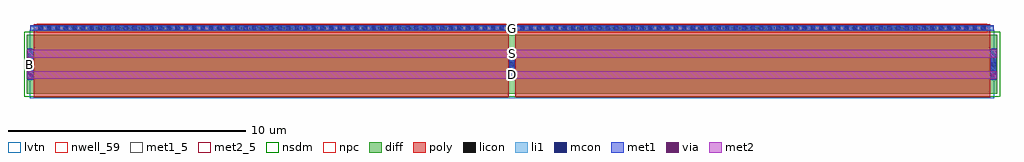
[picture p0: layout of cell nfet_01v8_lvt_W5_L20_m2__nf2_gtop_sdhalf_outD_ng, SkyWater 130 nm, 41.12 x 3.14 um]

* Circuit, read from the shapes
.subckt nfet_01v8_lvt_W5_L20_m2__nf2_gtop_sdhalf_outD_ng B D G S
XM1 S G D B sky130_fd_pr__nfet_01v8_lvt w=2.5 l=20 m=2
.ends

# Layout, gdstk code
import gdstk
lib = gdstk.Library(unit=1e-6, precision=1e-09)
def R(c, l, rs):  # rectangles x0, y0, x1, y1
    for r in rs: c.add(gdstk.rectangle(r[:2], r[2:], *l))
def A(c, l, x, y, w, h, nx, ny, dx, dy):  # array of equal rectangles
    R(c, l, [(x+i*dx, y+j*dy, x+i*dx+w, y+j*dy+h) for i in range(nx) for j in range(ny)])
nwell_59 = (64, 59)
diff = (65, 20)
poly = (66, 20)
licon = (66, 44)
li1 = (67, 20)
mcon = (67, 44)
met1_5 = (68, 5)
met1 = (68, 20)
via = (68, 44)
met2_5 = (69, 5)
met2 = (69, 20)
nsdm = (93, 44)
npc = (95, 20)
lvtn = (125, 44)

sky130_fd_pr__nfet_01v8_ = lib.new_cell('sky130_fd_pr__nfet_01v8_lvt_HAP7TR')
R(sky130_fd_pr__nfet_01v8_, diff, [(-20.435,-1.405,20.435,1.095)])
R(sky130_fd_pr__nfet_01v8_, poly, [(-20.145,-1.535,-0.145,1.535), (0.145,-1.535,20.145,1.535)])
A(sky130_fd_pr__nfet_01v8_, licon, -20.375, -0.75, 0.17, 0.17, 3, 4, 20.29, 0.34)
A(sky130_fd_pr__nfet_01v8_, licon, -19.92, 1.285, 0.17, 0.17, 58, 1, 0.34, 0)
A(sky130_fd_pr__nfet_01v8_, licon, 0.37, 1.285, 0.17, 0.17, 58, 1, 0.34, 0)
A(sky130_fd_pr__nfet_01v8_, li1, -20.375, -0.83, 0.17, 1.35, 3, 1, 20.29, 0)
R(sky130_fd_pr__nfet_01v8_, li1, [(-20.29,1.285,20.29,1.455)])
A(sky130_fd_pr__nfet_01v8_, mcon, -20.375, -0.6, 0.17, 0.17, 3, 3, 20.29, 0.36)
A(sky130_fd_pr__nfet_01v8_, mcon, -19.95, 1.285, 0.17, 0.17, 55, 1, 0.36, 0)
A(sky130_fd_pr__nfet_01v8_, mcon, 0.34, 1.285, 0.17, 0.17, 55, 1, 0.36, 0)
A(sky130_fd_pr__nfet_01v8_, met1, -20.405, -0.81, 0.23, 1.31, 3, 1, 20.29, 0)
R(sky130_fd_pr__nfet_01v8_, met1, [(-20.125,1.255,-0.165,1.285), (0.165,1.255,20.125,1.285), (-20.29,1.285,20.29,1.455), (-20.125,1.455,-0.165,1.485), (0.165,1.455,20.125,1.485)])
R(sky130_fd_pr__nfet_01v8_, nsdm, [(-20.56,-1.53,20.56,1.22)])
R(sky130_fd_pr__nfet_01v8_, npc, [(-20.02,1.185,-0.27,1.555), (0.27,1.185,20.02,1.555)])
R(sky130_fd_pr__nfet_01v8_, lvtn, [(-20.325,-1.585,20.325,1.275)])
sky130_fd_pr__nfet_01v8_.add(gdstk.Label('D0', (-20.29,-0.155), layer=67, texttype=5))
sky130_fd_pr__nfet_01v8_.add(gdstk.Label('G', (10.145,1.37), layer=67, texttype=5))
sky130_fd_pr__nfet_01v8_.add(gdstk.Label('G', (-10.145,1.37), layer=67, texttype=5))
sky130_fd_pr__nfet_01v8_.add(gdstk.Label('S1', (0,-0.155), layer=67, texttype=5))

nfet_01v8_lvt_w5_l20_m2_ = lib.new_cell('nfet_01v8_lvt_W5_L20_m2__nf2_gtop_sdhalf_outD_ng')
R(nfet_01v8_lvt_w5_l20_m2_, nwell_59, [(0.05,1.33,0.15,1.43)])
R(nfet_01v8_lvt_w5_l20_m2_, met1_5, [(0.145,2.79,40.725,3.02)])
R(nfet_01v8_lvt_w5_l20_m2_, met1, [(0.015,0.775,0.275,1.095), (40.595,0.775,40.855,1.095), (20.305,1.665,20.565,1.985), (0.145,2.79,40.725,3.02)])
R(nfet_01v8_lvt_w5_l20_m2_, via, [(0.07,0.86,0.22,1.01), (40.65,0.86,40.8,1.01), (20.36,1.75,20.51,1.9)])
R(nfet_01v8_lvt_w5_l20_m2_, met2_5, [(0.01,0.775,40.86,1.095), (0.01,1.665,40.86,1.985)])
R(nfet_01v8_lvt_w5_l20_m2_, met2, [(0.01,0.775,40.86,1.095), (0.01,1.665,40.86,1.985)])
nfet_01v8_lvt_w5_l20_m2_.add(gdstk.Reference(sky130_fd_pr__nfet_01v8_, (20.435,1.535)))
nfet_01v8_lvt_w5_l20_m2_.add(gdstk.Label('S', (20.435,1.825), layer=69, texttype=5))
nfet_01v8_lvt_w5_l20_m2_.add(gdstk.Label('D', (20.435,0.935), layer=69, texttype=5))
nfet_01v8_lvt_w5_l20_m2_.add(gdstk.Label('G', (20.435,2.905), layer=68, texttype=5))
nfet_01v8_lvt_w5_l20_m2_.add(gdstk.Label('B', (0.1,1.38), layer=64, texttype=59))

lib.write_gds('nfet_01v8_lvt_W5_L20_m2__nf2_gtop_sdhalf_outD_ng.gds')
